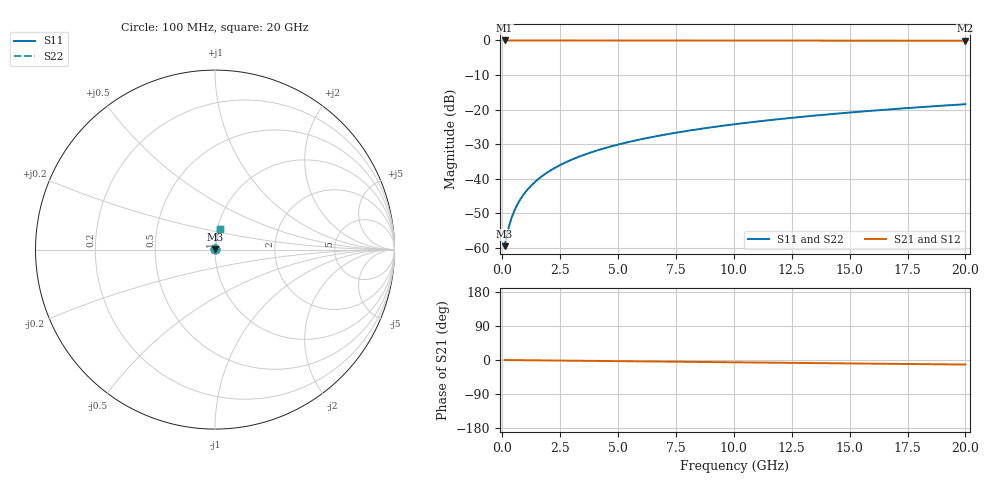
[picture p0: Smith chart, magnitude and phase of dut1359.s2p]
! Touchstone file exported from HFSS 2026.1.0
!  File:  C:/ffzhzh/LocalFiles/Ansys_Project_Files/temp_train_TSV_1359_1783195956_43440.aedt
!  Generated:  04:14:46 AM Jul  5, 2026
!  Design:  TSV
!  Project:  temp_train_TSV_1359_1783195956_43440
! Variables:
!  h_bsmrdl = 2um
!  h_ox = 20um
!  h_rdl = 5um
!  h_sub = 98.47um
!  h_tmrdl = 5um
!  h_tsv = 98.47um
!  h_via = 3um
!  l_bsmrdl = 300um
!  l_sub = 407.42um
!  l_tmrdl = 200um
!  m_sub = 200um
!  pitch = 44.67um
!  r_tsv = 3.71um
!  s_tmrdl = 10um
!  w_bsmrdl = 18um
!  w_sub = 500um
!  w_tmrdl = 12um
!  x_tsv_center1 = 206um
!  x_tsv_center2 = 524um
!  x_tsv_center3 = 736um
!  x_tsv_center4 = 1054um
!  x_tsv_center5 = 1266um
!  x_tsv_center6 = 1584um
# GHz S MA R 50.000000
! Terminal data exported
! Port[1] = TSV1_1_T1
! Port[2] = TSV1_1_T2
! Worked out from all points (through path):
!   200 points, 100 MHz to 20 GHz, reference 50 ohm
!   highest |S21| = -0.01 dB at 100 MHz (marker M1); lowest = -0.1 dB at 20 GHz (marker M2)
!   group delay of S21, straight-line fit = 1.66 ps
!   lowest |S11| = -59.5 dB at 100 MHz (marker M3), VSWR 1.00, Z = 50.1 + j0.0647 ohm
!   |S11| at or under -10 dB: start of sweep to end of sweep
!   |S22| runs from -59.5 to -18.4 dB; largest |S21 - S12| = 3.3e-15
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0.1  0.00106 37.6  0.9992 -0.1  0.9992 -0.1  0.00106 37.6
! Gamma 0 0 0 0
! Port Impedance 50 0 50 0
0.2  0.001545 56.5  0.9992 -0.1  0.9992 -0.1  0.001545 56.5
0.3  0.002112 65.8  0.9991 -0.2  0.9991 -0.2  0.002112 65.8
0.4  0.002708 71.0  0.9991 -0.2  0.9991 -0.2  0.002708 71.0
0.5  0.003315 74.3  0.9991 -0.3  0.9991 -0.3  0.003315 74.3
0.6  0.00393 76.5  0.9991 -0.4  0.9991 -0.4  0.00393 76.5
0.8  0.005169 79.4  0.9991 -0.5  0.9991 -0.5  0.005169 79.4
1.1  0.007041 81.7  0.999 -0.7  0.999 -0.7  0.007041 81.7
1.5  0.009547 83.2  0.999 -0.9  0.999 -0.9  0.009547 83.2
1.8  0.01143 83.8  0.9989 -1.1  0.9989 -1.1  0.01143 83.8
2.1  0.0133 84.2  0.9988 -1.3  0.9988 -1.3  0.0133 84.2
2.7  0.01705 84.5  0.9987 -1.7  0.9987 -1.7  0.01705 84.5
3.5  0.02201 84.5  0.9985 -2.2  0.9985 -2.2  0.02201 84.5
4.2  0.02632 84.3  0.9982 -2.6  0.9982 -2.6  0.02632 84.3
5  0.03122 84.0  0.9979 -3.1  0.9979 -3.1  0.03122 84.0
5.9  0.03669 83.7  0.9976 -3.6  0.9976 -3.6  0.03669 83.7
6.8  0.04212 83.3  0.9972 -4.1  0.9972 -4.1  0.04212 83.3
8.3  0.05112 82.5  0.9965 -5.0  0.9965 -5.0  0.05112 82.5
10.1  0.06184 81.7  0.9957 -6.1  0.9957 -6.1  0.06184 81.7
13.4  0.08134 80.0  0.9939 -8.1  0.9939 -8.1  0.08134 80.0
16.7  0.1006 78.2  0.9919 -10.0  0.9919 -10.0  0.1006 78.2
20  0.1197 76.4  0.9895 -12.0  0.9895 -12.0  0.1197 76.4
